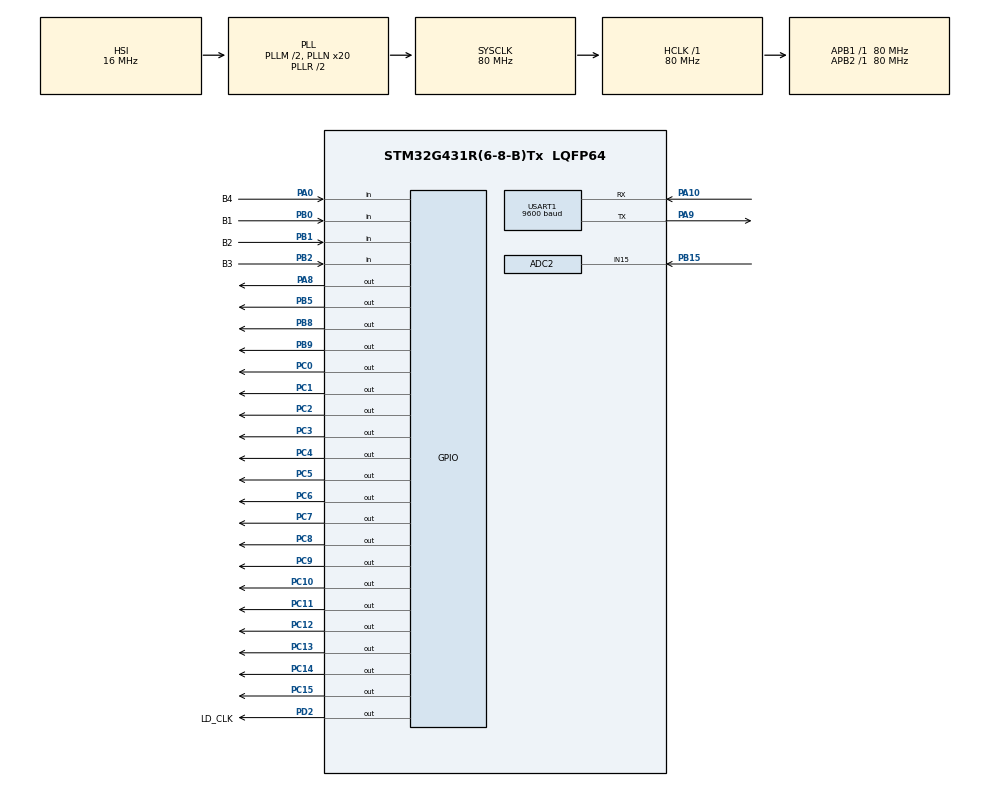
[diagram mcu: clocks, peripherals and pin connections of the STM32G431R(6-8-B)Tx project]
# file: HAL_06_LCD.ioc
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ADC2.Channel-0\#ChannelRegularConversion=ADC_CHANNEL_15
ADC2.NbrOfConversionFlag=1
ADC2.OffsetNumber-0\#ChannelRegularConversion=ADC_OFFSET_NONE
ADC2.Rank-0\#ChannelRegularConversion=1
ADC2.SamplingTime-0\#ChannelRegularConversion=ADC_SAMPLETIME_2CYCLES_5
Dma.ADC2.0.Direction=DMA_PERIPH_TO_MEMORY
Dma.ADC2.0.EventEnable=DISABLE
Dma.ADC2.0.Instance=DMA1_Channel1
Dma.ADC2.0.MemDataAlignment=DMA_MDATAALIGN_WORD
Dma.ADC2.0.MemInc=DMA_MINC_ENABLE
Dma.ADC2.0.Mode=DMA_CIRCULAR
Dma.ADC2.0.PeriphDataAlignment=DMA_PDATAALIGN_WORD
Dma.ADC2.0.PeriphInc=DMA_PINC_DISABLE
Dma.ADC2.0.Polarity=HAL_DMAMUX_REQ_GEN_RISING
Dma.ADC2.0.Priority=DMA_PRIORITY_LOW
Dma.ADC2.0.RequestNumber=1
Dma.ADC2.0.SignalID=NONE
Dma.ADC2.0.SyncEnable=DISABLE
Dma.ADC2.0.SyncPolarity=HAL_DMAMUX_SYNC_NO_EVENT
Dma.ADC2.0.SyncRequestNumber=1
Dma.ADC2.0.SyncSignalID=NONE
Dma.Request0=ADC2
Mcu.Family=STM32G4
Mcu.Name=STM32G431R(6-8-B)Tx
Mcu.Package=LQFP64
NVIC.DMA1_Channel1_IRQn=true\:0\:0\:false\:false\:true\:false\:true
NVIC.PriorityGroup=NVIC_PRIORITYGROUP_4
NVIC.TIM4_IRQn=true\:0\:0\:false\:false\:true\:true\:true
NVIC.USART1_IRQn=true\:0\:0\:false\:false\:true\:true\:true
PA0.GPIO_Label=B4
PA0.GPIO_PuPd=GPIO_PULLUP
PA0.Signal=GPIO_Input
PA10.Mode=Asynchronous
PA10.Signal=USART1_RX
PA8.Signal=GPIO_Output
PA9.Mode=Asynchronous
PA9.Signal=USART1_TX
PB0.GPIO_Label=B1
PB0.GPIO_PuPd=GPIO_PULLUP
PB0.Signal=GPIO_Input
PB1.GPIO_Label=B2
PB1.GPIO_PuPd=GPIO_PULLUP
PB1.Signal=GPIO_Input
PB15.Mode=IN15-Single-Ended
PB15.Signal=ADC2_IN15
PB2.GPIO_Label=B3
PB2.GPIO_PuPd=GPIO_PULLUP
PB2.Signal=GPIO_Input
PB5.Signal=GPIO_Output
PB8-BOOT0.Signal=GPIO_Output
PB9.Signal=GPIO_Output
PC0.Signal=GPIO_Output
PC1.Signal=GPIO_Output
PC10.Signal=GPIO_Output
PC11.Signal=GPIO_Output
PC12.Signal=GPIO_Output
PC13.Signal=GPIO_Output
PC14-OSC32_IN.Signal=GPIO_Output
PC15-OSC32_OUT.Signal=GPIO_Output
PC2.Signal=GPIO_Output
PC3.Signal=GPIO_Output
PC4.Signal=GPIO_Output
PC5.Signal=GPIO_Output
PC6.Signal=GPIO_Output
PC7.Signal=GPIO_Output
PC8.Signal=GPIO_Output
PC9.Signal=GPIO_Output
PD2.GPIO_Label=LD_CLK
PD2.Signal=GPIO_Output
PF0-OSC_IN.Mode=HSE-External-Oscillator
PF0-OSC_IN.Signal=RCC_OSC_IN
PF1-OSC_OUT.Mode=HSE-External-Oscillator
PF1-OSC_OUT.Signal=RCC_OSC_OUT
ProjectManager.HeapSize=0x200
ProjectManager.StackSize=0x400
ProjectManager.TargetToolchain=MDK-ARM V5.27
RCC.ADC12Freq_Value=80000000
RCC.AHBFreq_Value=80000000
RCC.APB1Freq_Value=80000000
RCC.APB1TimFreq_Value=80000000
RCC.APB2Freq_Value=80000000
RCC.APB2TimFreq_Value=80000000
RCC.CortexFreq_Value=80000000
RCC.EXTERNAL_CLOCK_VALUE=12288000
RCC.HCLKFreq_Value=80000000
RCC.HSE_VALUE=24000000
RCC.HSI48_VALUE=48000000
RCC.HSI_VALUE=16000000
RCC.LSE_VALUE=32768
RCC.PLLM=RCC_PLLM_DIV2
RCC.PLLN=20
RCC.SYSCLKFreq_VALUE=80000000
RCC.SYSCLKSource=RCC_SYSCLKSOURCE_PLLCLK
RCC.USBFreq_Value=80000000
RCC.VCOOutputFreq_Value=160000000
TIM4.PeriodNoDither=1000-1
TIM4.Prescaler=80-1
USART1.BaudRate=9600
USART1.VirtualMode-Asynchronous=VM_ASYNC
VP_SYS_VS_DBSignals.Mode=DisableDeadBatterySignals
VP_TIM4_VS_ClockSourceINT.Mode=Internal
board=custom

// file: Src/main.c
/* USER CODE BEGIN Header */
/**
  ******************************************************************************
  * @file           : main.c
  * @brief          : Main program body
  ******************************************************************************
  * @attention
  *
  * <h2><center>&copy; Copyright (c) 2021 STMicroelectronics.
  * All rights reserved.</center></h2>
  *
  * This software component is licensed by ST under BSD 3-Clause license,
  * the "License"; You may not use this file except in compliance with the
  * License. You may obtain a copy of the License at:
  *                        opensource.org/licenses/BSD-3-Clause
  *
  ******************************************************************************
  */
/* USER CODE END Header */
#include "main.h"

/* USER CODE BEGIN Includes */
#include <stdio.h>
#include <string.h>
#include "lcd.h"
/* USER CODE END Includes */

/* USER CODE BEGIN PD */
#define DATAVIEW 1
#define PARAVIEW 2
/* USER CODE END PD */

/* USER CODE BEGIN PM */
#define KB1 HAL_GPIO_ReadPin(B1_GPIO_Port, B1_Pin)
#define KB2 HAL_GPIO_ReadPin(B2_GPIO_Port, B2_Pin)
#define KB3 HAL_GPIO_ReadPin(B3_GPIO_Port, B3_Pin)
#define KB4 HAL_GPIO_ReadPin(B4_GPIO_Port, B4_Pin)
/* USER CODE END PM */

ADC_HandleTypeDef hadc2;
DMA_HandleTypeDef hdma_adc2;

TIM_HandleTypeDef htim4;

UART_HandleTypeDef huart1;

/* USER CODE BEGIN PV */
_Bool Key_Flag = 0;//按键的标志位
_Bool Adc_Flag = 0;//ADC的标志位

_Bool is_First_Count = 0;
//是否是第一次计时，当电压小于Vmin的时候会将该标志位置为1
_Bool Timer_Flag = 0;//计时器的标志位
_Bool T1S_Flag = 0;//1秒钟标志位
uint16_t Led_Val;
uint32_t Adc_buf[10];//存放ADC采集到的数据
uint8_t rx_data[7];//存放串口接收到的数据
uint8_t View_Model = 1;

float V_Val = 3.3f;//R37的输出电压
uint16_t T_Val = 0;//计时结果

float Vmax_Val = 3.0f;
float Vmin_Val = 1.0f;

/* USER CODE END PV */

void SystemClock_Config(void);
static void MX_GPIO_Init(void);
static void MX_DMA_Init(void);
static void MX_TIM4_Init(void);
static void MX_USART1_UART_Init(void);
static void MX_ADC2_Init(void);

/* USER CODE BEGIN 0 */
//操作LED灯
void TurnOff_LEDS()
{
	Led_Val = 0xFF00;
	HAL_GPIO_WritePin(LD_CLK_GPIO_Port, LD_CLK_Pin, GPIO_PIN_SET);
	GPIOC->ODR = Led_Val;
	HAL_GPIO_WritePin(LD_CLK_GPIO_Port, LD_CLK_Pin, GPIO_PIN_RESET);
}
void TurnOff_LED(uint8_t _led)
{
	Led_Val |= (0x01 << (7 + _led));
	HAL_GPIO_WritePin(LD_CLK_GPIO_Port, LD_CLK_Pin, GPIO_PIN_SET);
	GPIOC->ODR = Led_Val;
	HAL_GPIO_WritePin(LD_CLK_GPIO_Port, LD_CLK_Pin, GPIO_PIN_RESET);
}
void TurnOn_LED(uint8_t _led)
{
	Led_Val &= ~(0x01 << (7 + _led));
	HAL_GPIO_WritePin(LD_CLK_GPIO_Port, LD_CLK_Pin, GPIO_PIN_SET);
	GPIOC->ODR = Led_Val;
	HAL_GPIO_WritePin(LD_CLK_GPIO_Port, LD_CLK_Pin, GPIO_PIN_RESET);
}
//数据显示界面
void Display()
{
	uint8_t buf[30];
	sprintf((char *)buf, "       Data");
	LCD_DisplayStringLine(Line0, buf);
	sprintf((char *)buf, " V:%.2fV", V_Val);
	LCD_DisplayStringLine(Line2, buf);
	sprintf((char *)buf, " T:%02ds", T_Val);
	LCD_DisplayStringLine(Line3, buf);
}
//数据设置界面
void Setting()
{
	uint8_t buf[30];
	sprintf((char *)buf, "       Para");
	LCD_DisplayStringLine(Line0, buf);
	sprintf((char *)buf, " Vmax:%.2fV", Vmax_Val);
	LCD_DisplayStringLine(Line2, buf);
	sprintf((char *)buf, " Vmin:%.2fV", Vmin_Val);
	LCD_DisplayStringLine(Line3, buf);
}
void Display_Proc()
{
	switch(View_Model)
	{
		case DATAVIEW:
			Display();
			break;
		case PARAVIEW:
			Setting();
			break;
	}
}
//ADC均值滤波
float Adc_Proc(uint32_t _buf[])
{
	uint8_t i, j;
	float Adc_Val = 0;
	float temp;
	for(i = 0; i < 10 - 1; i++)
	{
		for(j = 0; j < 10 - 1 - i; j++)
		{
			if (_buf[j] < _buf[j+1])
			{
					temp = _buf[j];
					_buf[j] = _buf[j+1];
					_buf[j+1] = temp;
			}
		}
	}

	for(i = 1; i < 10-1; i++)
    	Adc_Val += _buf[i];
	return (Adc_Val / 8) / 4096 * 3.3f;
}
float Vmax_Prev, Vmin_Prev;
//按键扫描服务函数
void Key_Proc()
{
	//按键1 用于界面切换
	static uint8_t b1_sum;
	if(KB1 == 0)
	{
		b1_sum++;
	}
	if(KB1 == 1)
	{
		if(b1_sum >= 1)
		{
			switch(View_Model)
			{
				case DATAVIEW:
				{
					Vmax_Prev = Vmax_Val;
					Vmin_Prev = Vmin_Val;
					LCD_Clear(Black);
					View_Model = PARAVIEW;
				}
				break;
				case PARAVIEW:
				{
					//如果参数设置不合理，LD2亮起
					if(Vmax_Val <= (Vmin_Val + 1.0f))
					{
						Vmax_Val = Vmax_Prev;
						Vmin_Val = Vmin_Prev;
						TurnOn_LED(2);
					}else{
						Vmax_Val = Vmax_Val;
						Vmin_Val = Vmin_Val;
						TurnOff_LED(2);
					}
					LCD_Clear(Black);
					View_Model = DATAVIEW;
				}
				break;
			}
		}
		b1_sum = 0;
	}

	//按键2 用于Vmax参数的加
	static uint8_t b2_sum;
	if(KB2 == 0)
	{
		b2_sum++;
		if(b2_sum == 1)
		{
			if(View_Model == PARAVIEW)
			{
				Vmax_Val += 0.1f;
				if(Vmax_Val > 3.3f)
				{
					Vmax_Val = 0.0f;
				}
			}
		}
	}
	if(KB2 == 1)
	{
		b2_sum = 0;
	}

	//按键3 用于Vmin参数的加
	static uint8_t b3_sum;
	if(KB3 == 0)
	{
		b3_sum++;
		if(b3_sum == 1)
		{
			if(View_Model == PARAVIEW)
			{
				Vmin_Val += 0.1f;
				if(Vmin_Val > 3.3f)
				{
					Vmin_Val = 0.0f;
				}
			}
		}
	}
	if(KB3 == 1)
	{
		b3_sum = 0;
	}
}

void Timer_Proc()
{
	if(T1S_Flag)
	{
		T1S_Flag = 0;
		if(Timer_Flag)
		{
			T_Val++;
			TurnOn_LED(1);
		}
	}
}
/* USER CODE END 0 */

int main(void)
{

  /* MCU Configuration--------------------------------------------------------*/

  /* Reset of all peripherals, Initializes the Flash interface and the Systick. */
  HAL_Init();

  /* Configure the system clock */
  SystemClock_Config();

  /* Initialize all configured peripherals */
  MX_GPIO_Init();
  MX_DMA_Init();
  MX_TIM4_Init();
  MX_USART1_UART_Init();
  MX_ADC2_Init();
  /* USER CODE BEGIN 2 */
	//启动定时器4
	HAL_TIM_Base_Start_IT(&htim4);
	//ADC进行校准
	HAL_ADCEx_Calibration_Start(&hadc2, ADC_SINGLE_ENDED);
	//开始ADC采集DMA方式
	HAL_ADC_Start_DMA(&hadc2, (uint32_t *)&Adc_buf,10);
	//进行串口接收
	HAL_UART_Receive_IT(&huart1, rx_data, 7);
	//初始化LCD
	LCD_Init();
  /* USER CODE END 2 */

  /* Infinite loop */
  /* USER CODE BEGIN WHILE */

	LCD_Clear(Black);
	LCD_SetBackColor(Black);
	LCD_SetTextColor(White);
	TurnOff_LEDS();
	HAL_Delay(500);
  while (1)
  {
		Display_Proc();
    /* USER CODE END WHILE */

    /* USER CODE BEGIN 3 */
		if(Key_Flag)
		{
			Key_Flag = 0;
			Key_Proc();
		}
		if(Adc_Flag)
		{
			Adc_Flag = 0;
			HAL_ADC_Start_DMA(&hadc2, (uint32_t *)&Adc_buf,10);
		}
		if(V_Val < Vmin_Val)
		{
			is_First_Count = 1;
			//如果测得电压小于Vmin，则代表重新开始记时
			T_Val = 0;
			TurnOff_LED(1);
		}
		if(V_Val >= Vmax_Val)
		{
			Timer_Flag = 0;
			//如果测得电压大于Vmax，则停止记时
			is_First_Count = 0;
			TurnOff_LED(1);
		}
		if(V_Val >= Vmin_Val && V_Val <= Vmax_Val && is_First_Count == 1)
		{
			//如果测得电压大于Vmax，则开始记时
			Timer_Flag = 1;
		}
		Timer_Proc();
  }
  /* USER CODE END 3 */
}

void SystemClock_Config(void)
{
  RCC_OscInitTypeDef RCC_OscInitStruct = {0};
  RCC_ClkInitTypeDef RCC_ClkInitStruct = {0};
  RCC_PeriphCLKInitTypeDef PeriphClkInit = {0};

  /** Configure the main internal regulator output voltage
  */
  HAL_PWREx_ControlVoltageScaling(PWR_REGULATOR_VOLTAGE_SCALE1);
  /** Initializes the RCC Oscillators according to the specified parameters
  * in the RCC_OscInitTypeDef structure.
  */
  RCC_OscInitStruct.OscillatorType = RCC_OSCILLATORTYPE_HSI;
  RCC_OscInitStruct.HSIState = RCC_HSI_ON;
  RCC_OscInitStruct.HSICalibrationValue = RCC_HSICALIBRATION_DEFAULT;
  RCC_OscInitStruct.PLL.PLLState = RCC_PLL_ON;
  RCC_OscInitStruct.PLL.PLLSource = RCC_PLLSOURCE_HSI;
  RCC_OscInitStruct.PLL.PLLM = RCC_PLLM_DIV2;
  RCC_OscInitStruct.PLL.PLLN = 20;
  RCC_OscInitStruct.PLL.PLLP = RCC_PLLP_DIV2;
  RCC_OscInitStruct.PLL.PLLQ = RCC_PLLQ_DIV2;
  RCC_OscInitStruct.PLL.PLLR = RCC_PLLR_DIV2;
  if (HAL_RCC_OscConfig(&RCC_OscInitStruct) != HAL_OK)
  {
    Error_Handler();
  }
  /** Initializes the CPU, AHB and APB buses clocks
  */
  RCC_ClkInitStruct.ClockType = RCC_CLOCKTYPE_HCLK|RCC_CLOCKTYPE_SYSCLK
                              |RCC_CLOCKTYPE_PCLK1|RCC_CLOCKTYPE_PCLK2;
  RCC_ClkInitStruct.SYSCLKSource = RCC_SYSCLKSOURCE_PLLCLK;
  RCC_ClkInitStruct.AHBCLKDivider = RCC_SYSCLK_DIV1;
  RCC_ClkInitStruct.APB1CLKDivider = RCC_HCLK_DIV1;
  RCC_ClkInitStruct.APB2CLKDivider = RCC_HCLK_DIV1;

  if (HAL_RCC_ClockConfig(&RCC_ClkInitStruct, FLASH_LATENCY_2) != HAL_OK)
  {
    Error_Handler();
  }
  /** Initializes the peripherals clocks
  */
  PeriphClkInit.PeriphClockSelection = RCC_PERIPHCLK_USART1|RCC_PERIPHCLK_ADC12;
  PeriphClkInit.Usart1ClockSelection = RCC_USART1CLKSOURCE_PCLK2;
  PeriphClkInit.Adc12ClockSelection = RCC_ADC12CLKSOURCE_SYSCLK;
  if (HAL_RCCEx_PeriphCLKConfig(&PeriphClkInit) != HAL_OK)
  {
    Error_Handler();
  }
}

static void MX_ADC2_Init(void)
{

  ADC_ChannelConfTypeDef sConfig = {0};

  /** Common config
  */
  hadc2.Instance = ADC2;
  hadc2.Init.ClockPrescaler = ADC_CLOCK_SYNC_PCLK_DIV2;
  hadc2.Init.Resolution = ADC_RESOLUTION_12B;
  hadc2.Init.DataAlign = ADC_DATAALIGN_RIGHT;
  hadc2.Init.GainCompensation = 0;
  hadc2.Init.ScanConvMode = ADC_SCAN_DISABLE;
  hadc2.Init.EOCSelection = ADC_EOC_SINGLE_CONV;
  hadc2.Init.LowPowerAutoWait = DISABLE;
  hadc2.Init.ContinuousConvMode = DISABLE;
  hadc2.Init.NbrOfConversion = 1;
  hadc2.Init.DiscontinuousConvMode = DISABLE;
  hadc2.Init.ExternalTrigConv = ADC_SOFTWARE_START;
  hadc2.Init.ExternalTrigConvEdge = ADC_EXTERNALTRIGCONVEDGE_NONE;
  hadc2.Init.DMAContinuousRequests = DISABLE;
  hadc2.Init.Overrun = ADC_OVR_DATA_PRESERVED;
  hadc2.Init.OversamplingMode = DISABLE;
  if (HAL_ADC_Init(&hadc2) != HAL_OK)
  {
    Error_Handler();
  }
  /** Configure Regular Channel
  */
  sConfig.Channel = ADC_CHANNEL_15;
  sConfig.Rank = ADC_REGULAR_RANK_1;
  sConfig.SamplingTime = ADC_SAMPLETIME_2CYCLES_5;
  sConfig.SingleDiff = ADC_SINGLE_ENDED;
  sConfig.OffsetNumber = ADC_OFFSET_NONE;
  sConfig.Offset = 0;
  if (HAL_ADC_ConfigChannel(&hadc2, &sConfig) != HAL_OK)
  {
    Error_Handler();
  }

}

static void MX_TIM4_Init(void)
{

  TIM_ClockConfigTypeDef sClockSourceConfig = {0};
  TIM_MasterConfigTypeDef sMasterConfig = {0};

  htim4.Instance = TIM4;
  htim4.Init.Prescaler = 80-1;
  htim4.Init.CounterMode = TIM_COUNTERMODE_UP;
  htim4.Init.Period = 999;
  htim4.Init.ClockDivision = TIM_CLOCKDIVISION_DIV1;
  htim4.Init.AutoReloadPreload = TIM_AUTORELOAD_PRELOAD_DISABLE;
  if (HAL_TIM_Base_Init(&htim4) != HAL_OK)
  {
    Error_Handler();
  }
  sClockSourceConfig.ClockSource = TIM_CLOCKSOURCE_INTERNAL;
  if (HAL_TIM_ConfigClockSource(&htim4, &sClockSourceConfig) != HAL_OK)
  {
    Error_Handler();
  }
  sMasterConfig.MasterOutputTrigger = TIM_TRGO_RESET;
  sMasterConfig.MasterSlaveMode = TIM_MASTERSLAVEMODE_DISABLE;
  if (HAL_TIMEx_MasterConfigSynchronization(&htim4, &sMasterConfig) != HAL_OK)
  {
    Error_Handler();
  }

}

static void MX_USART1_UART_Init(void)
{

  huart1.Instance = USART1;
  huart1.Init.BaudRate = 9600;
  huart1.Init.WordLength = UART_WORDLENGTH_8B;
  huart1.Init.StopBits = UART_STOPBITS_1;
  huart1.Init.Parity = UART_PARITY_NONE;
  huart1.Init.Mode = UART_MODE_TX_RX;
  huart1.Init.HwFlowCtl = UART_HWCONTROL_NONE;
  huart1.Init.OverSampling = UART_OVERSAMPLING_16;
  huart1.Init.OneBitSampling = UART_ONE_BIT_SAMPLE_DISABLE;
  huart1.Init.ClockPrescaler = UART_PRESCALER_DIV1;
  huart1.AdvancedInit.AdvFeatureInit = UART_ADVFEATURE_NO_INIT;
  if (HAL_UART_Init(&huart1) != HAL_OK)
  {
    Error_Handler();
  }
  if (HAL_UARTEx_SetTxFifoThreshold(&huart1, UART_TXFIFO_THRESHOLD_1_8) != HAL_OK)
  {
    Error_Handler();
  }
  if (HAL_UARTEx_SetRxFifoThreshold(&huart1, UART_RXFIFO_THRESHOLD_1_8) != HAL_OK)
  {
    Error_Handler();
  }
  if (HAL_UARTEx_DisableFifoMode(&huart1) != HAL_OK)
  {
    Error_Handler();
  }

}

static void MX_DMA_Init(void)
{

  /* DMA controller clock enable */
  __HAL_RCC_DMAMUX1_CLK_ENABLE();
  __HAL_RCC_DMA1_CLK_ENABLE();

  /* DMA interrupt init */
  /* DMA1_Channel1_IRQn interrupt configuration */
  HAL_NVIC_SetPriority(DMA1_Channel1_IRQn, 0, 0);
  HAL_NVIC_EnableIRQ(DMA1_Channel1_IRQn);

}

static void MX_GPIO_Init(void)
{
  GPIO_InitTypeDef GPIO_InitStruct = {0};

  /* GPIO Ports Clock Enable */
  __HAL_RCC_GPIOC_CLK_ENABLE();
  __HAL_RCC_GPIOF_CLK_ENABLE();
  __HAL_RCC_GPIOA_CLK_ENABLE();
  __HAL_RCC_GPIOB_CLK_ENABLE();
  __HAL_RCC_GPIOD_CLK_ENABLE();

  /*Configure GPIO pin Output Level */
  HAL_GPIO_WritePin(GPIOC, GPIO_PIN_13|GPIO_PIN_14|GPIO_PIN_15|GPIO_PIN_0
                          |GPIO_PIN_1|GPIO_PIN_2|GPIO_PIN_3|GPIO_PIN_4
                          |GPIO_PIN_5|GPIO_PIN_6|GPIO_PIN_7|GPIO_PIN_8
                          |GPIO_PIN_9|GPIO_PIN_10|GPIO_PIN_11|GPIO_PIN_12, GPIO_PIN_RESET);

  /*Configure GPIO pin Output Level */
  HAL_GPIO_WritePin(GPIOA, GPIO_PIN_8, GPIO_PIN_RESET);

  /*Configure GPIO pin Output Level */
  HAL_GPIO_WritePin(LD_CLK_GPIO_Port, LD_CLK_Pin, GPIO_PIN_RESET);

  /*Configure GPIO pin Output Level */
  HAL_GPIO_WritePin(GPIOB, GPIO_PIN_5|GPIO_PIN_8|GPIO_PIN_9, GPIO_PIN_RESET);

  /*Configure GPIO pins : PC13 PC14 PC15 PC0
                           PC1 PC2 PC3 PC4
                           PC5 PC6 PC7 PC8
                           PC9 PC10 PC11 PC12 */
  GPIO_InitStruct.Pin = GPIO_PIN_13|GPIO_PIN_14|GPIO_PIN_15|GPIO_PIN_0
                          |GPIO_PIN_1|GPIO_PIN_2|GPIO_PIN_3|GPIO_PIN_4
                          |GPIO_PIN_5|GPIO_PIN_6|GPIO_PIN_7|GPIO_PIN_8
                          |GPIO_PIN_9|GPIO_PIN_10|GPIO_PIN_11|GPIO_PIN_12;
  GPIO_InitStruct.Mode = GPIO_MODE_OUTPUT_PP;
  GPIO_InitStruct.Pull = GPIO_NOPULL;
  GPIO_InitStruct.Speed = GPIO_SPEED_FREQ_LOW;
  HAL_GPIO_Init(GPIOC, &GPIO_InitStruct);

  /*Configure GPIO pin : B4_Pin */
  GPIO_InitStruct.Pin = B4_Pin;
  GPIO_InitStruct.Mode = GPIO_MODE_INPUT;
  GPIO_InitStruct.Pull = GPIO_PULLUP;
  HAL_GPIO_Init(B4_GPIO_Port, &GPIO_InitStruct);

  /*Configure GPIO pins : B1_Pin B2_Pin B3_Pin */
  GPIO_InitStruct.Pin = B1_Pin|B2_Pin|B3_Pin;
  GPIO_InitStruct.Mode = GPIO_MODE_INPUT;
  GPIO_InitStruct.Pull = GPIO_PULLUP;
  HAL_GPIO_Init(GPIOB, &GPIO_InitStruct);

  /*Configure GPIO pin : PA8 */
  GPIO_InitStruct.Pin = GPIO_PIN_8;
  GPIO_InitStruct.Mode = GPIO_MODE_OUTPUT_PP;
  GPIO_InitStruct.Pull = GPIO_NOPULL;
  GPIO_InitStruct.Speed = GPIO_SPEED_FREQ_LOW;
  HAL_GPIO_Init(GPIOA, &GPIO_InitStruct);

  /*Configure GPIO pin : LD_CLK_Pin */
  GPIO_InitStruct.Pin = LD_CLK_Pin;
  GPIO_InitStruct.Mode = GPIO_MODE_OUTPUT_PP;
  GPIO_InitStruct.Pull = GPIO_NOPULL;
  GPIO_InitStruct.Speed = GPIO_SPEED_FREQ_LOW;
  HAL_GPIO_Init(LD_CLK_GPIO_Port, &GPIO_InitStruct);

  /*Configure GPIO pins : PB5 PB8 PB9 */
  GPIO_InitStruct.Pin = GPIO_PIN_5|GPIO_PIN_8|GPIO_PIN_9;
  GPIO_InitStruct.Mode = GPIO_MODE_OUTPUT_PP;
  GPIO_InitStruct.Pull = GPIO_NOPULL;
  GPIO_InitStruct.Speed = GPIO_SPEED_FREQ_LOW;
  HAL_GPIO_Init(GPIOB, &GPIO_InitStruct);

}

/* USER CODE BEGIN 4 */
void HAL_ADC_ConvCpltCallback(ADC_HandleTypeDef* hadc)
{
  if(hadc->Instance == ADC2)
  {
		V_Val = Adc_Proc(Adc_buf);
  }
}

void HAL_TIM_PeriodElapsedCallback(TIM_HandleTypeDef *htim)
{
	HAL_TIM_Base_Start_IT(&htim4);
	static uint8_t key_count;//用于按键扫描计数
	static uint8_t adc_count;//用于ADC采集计数
	static uint16_t tim_count;//用于计时1s
	if(htim->Instance == TIM4)
	{
		if(++key_count == 10)
		{
			key_count = 0;
			Key_Flag = 1;
		}
		if(++adc_count == 100)
		{
			adc_count = 0;
			Adc_Flag = 1;
		}
		if(++tim_count == 1000)
		{
			tim_count = 0;
			T1S_Flag = 1;
		}
	}
}

void HAL_UART_RxCpltCallback(UART_HandleTypeDef *huart)
{
	HAL_UART_Receive_IT(&huart1, rx_data, 7);
	static float Vmax_tmp, Vmin_tmp;
	if(huart->Instance == USART1)
	{
		if(rx_data[1] == '.' && rx_data[3] == ',' && rx_data[5] == '.')
		{
			Vmax_tmp = (rx_data[0] - '0') + (rx_data[2] - '0') / 10.0f;
			Vmin_tmp = (rx_data[4] - '0') + (rx_data[6] - '0') / 10.0f;
			if(Vmax_tmp > (Vmin_tmp + 1.0f))
			{
				Vmax_Val = Vmax_tmp;
				Vmin_Val = Vmin_tmp;
				TurnOff_LED(3);
			}else{
				TurnOn_LED(3);
			}
		}else{TurnOn_LED(3);}
		memset(rx_data, 0, sizeof(rx_data));
	}

}
/* USER CODE END 4 */

void Error_Handler(void)
{
}

/************************ (C) COPYRIGHT STMicroelectronics *****END OF FILE****/
